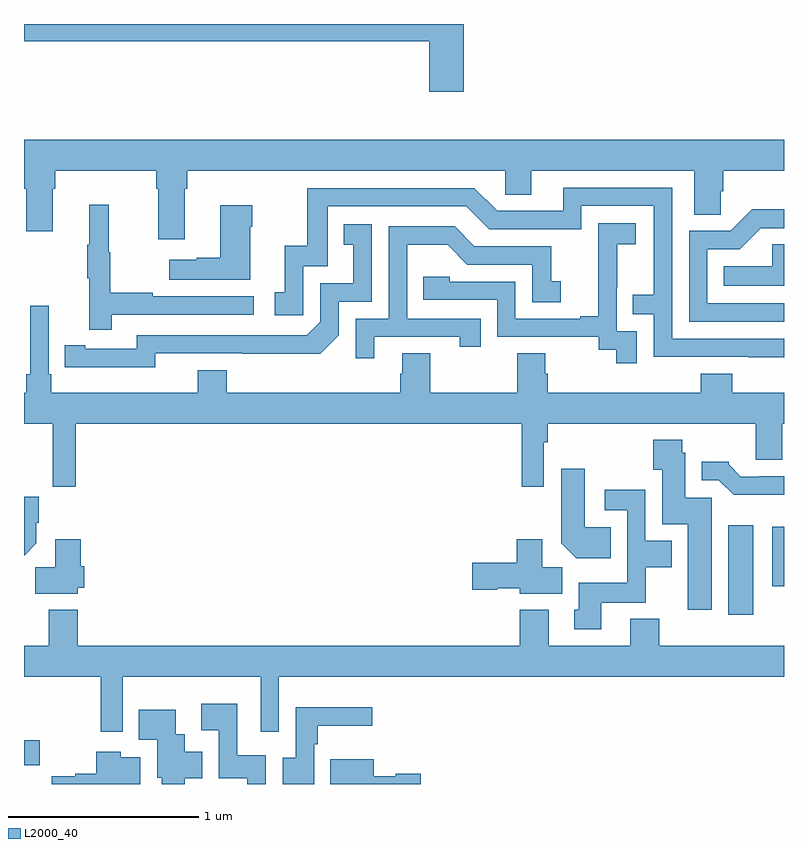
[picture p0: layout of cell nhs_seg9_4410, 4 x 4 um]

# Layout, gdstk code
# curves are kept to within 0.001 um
import gdstk
lib = gdstk.Library(unit=1e-6, precision=1e-09)
def R(c, l, rs):  # rectangles x0, y0, x1, y1
    for r in rs: c.add(gdstk.rectangle(r[:2], r[2:], *l))
def P(c, l, *ps):  # polygons
    for p in ps: c.add(gdstk.Polygon(p, *l))
L2000_40 = (2000, 40)

nhs_seg9_4410 = lib.new_cell('nhs_seg9_4410')
R(nhs_seg9_4410, L2000_40, [(363,1218.599,363.083,1218.729), (366.707,1219.392,366.838,1219.861), (366.938,1219.541,367,1219.855)])
P(nhs_seg9_4410, L2000_40, [(365.315,1222.5),(363,1222.5),(363,1222.408),(365.132,1222.408),(365.132,1222.143),(365.315,1222.143)],
  [(363.847,1221.632),(363.86,1221.632),(363.86,1221.728),(365.532,1221.728),(365.532,1221.601),(365.671,1221.601),(365.671,1221.728),(366.527,1221.728),(366.527,1221.496),(366.666,1221.496),(366.666,1221.619),(366.68,1221.619),(366.68,1221.728),(367,1221.728),(367,1221.892),(363,1221.892),(363,1221.632),(363.011,1221.632),(363.011,1221.408),(363.151,1221.408),(363.151,1221.632),(363.164,1221.632),(363.164,1221.728),(363.695,1221.728),(363.695,1221.632),(363.707,1221.632),(363.707,1221.366),(363.847,1221.366)],
  [(367,1220.844),(366.411,1220.844),(366.411,1221.639),(365.837,1221.639),(365.837,1221.516),(365.49,1221.516),(365.37,1221.636),(364.491,1221.636),(364.491,1221.334),(364.373,1221.334),(364.373,1221.087),(364.32,1221.087),(364.32,1220.967),(364.47,1220.967),(364.47,1221.225),(364.599,1221.225),(364.599,1221.54),(365.328,1221.54),(365.448,1221.42),(365.934,1221.42),(365.934,1221.543),(366.315,1221.543),(366.315,1221.074),(366.205,1221.074),(366.205,1220.973),(366.315,1220.973),(366.315,1220.748),(367,1220.747)],
  [(363.461,1220.97),(364.21,1220.97),(364.21,1221.066),(363.677,1221.066),(363.677,1221.086),(363.454,1221.086),(363.454,1221.3),(363.446,1221.3),(363.446,1221.55),(363.344,1221.55),(363.344,1221.337),(363.333,1221.337),(363.333,1221.163),(363.344,1221.163),(363.344,1220.892),(363.461,1220.892)],
  [(364.192,1221.434),(364.2,1221.434),(364.2,1221.547),(364.034,1221.547),(364.034,1221.269),(363.908,1221.269),(363.908,1221.259),(363.765,1221.259),(363.765,1221.155),(364.192,1221.155)],
  [(367,1221.03),(366.597,1221.03),(366.597,1221.315),(366.766,1221.315),(366.877,1221.426),(367,1221.426),(367,1221.524),(366.833,1221.524),(366.72,1221.411),(366.501,1221.411),(366.501,1220.934),(367,1220.934)],
  [(366.225,1220.883),(366.12,1220.883),(366.12,1221.113),(366.122,1221.113),(366.122,1221.341),(366.22,1221.341),(366.22,1221.451),(366.022,1221.451),(366.022,1221.245),(366.023,1221.245),(366.023,1220.962),(365.927,1220.962),(365.927,1220.949),(365.586,1220.949),(365.586,1221.144),(365.241,1221.144),(365.241,1221.171),(365.101,1221.171),(365.101,1221.048),(365.49,1221.048),(365.49,1220.853),(366.024,1220.853),(366.024,1220.785),(366.117,1220.785),(366.117,1220.715),(366.225,1220.715)],
  [(363.69,1220.766),(364.558,1220.765),(364.656,1220.862),(364.656,1221.039),(364.83,1221.039),(364.83,1221.445),(364.684,1221.445),(364.684,1221.339),(364.733,1221.339),(364.733,1221.135),(364.56,1221.135),(364.56,1220.934),(364.488,1220.862),(363.594,1220.862),(363.594,1220.79),(363.322,1220.79),(363.322,1220.81),(363.214,1220.81),(363.214,1220.694),(363.69,1220.693)],
  [(364.843,1220.853),(365.294,1220.853),(365.294,1220.802),(365.405,1220.802),(365.405,1220.949),(365.016,1220.949),(365.016,1221.338),(365.23,1221.338),(365.334,1221.234),(365.676,1221.234),(365.676,1221.036),(365.824,1221.036),(365.824,1221.145),(365.775,1221.145),(365.775,1221.33),(365.371,1221.33),(365.266,1221.435),(364.92,1221.435),(364.92,1220.949),(364.746,1220.949),(364.746,1220.742),(364.843,1220.742)],
  [(367,1221.341),(366.939,1221.341),(366.939,1221.226),(366.682,1221.226),(366.682,1221.122),(367,1221.122)],
  [(363.272,1220.396),(365.62,1220.396),(365.62,1220.064),(365.736,1220.064),(365.736,1220.3),(365.756,1220.3),(365.756,1220.396),(366.851,1220.396),(366.851,1220.206),(366.991,1220.206),(366.991,1220.396),(367,1220.396),(367,1220.56),(366.728,1220.56),(366.728,1220.659),(366.563,1220.659),(366.563,1220.56),(365.756,1220.56),(365.756,1220.658),(365.743,1220.658),(365.743,1220.768),(365.596,1220.768),(365.596,1220.56),(365.139,1220.56),(365.139,1220.768),(364.991,1220.768),(364.991,1220.658),(364.979,1220.658),(364.979,1220.56),(364.067,1220.56),(364.067,1220.677),(363.914,1220.677),(363.914,1220.56),(363.143,1220.56),(363.143,1220.656),(363.129,1220.656),(363.129,1221.016),(363.032,1221.016),(363.032,1220.656),(363.013,1220.656),(363.013,1220.56),(363,1220.56),(363,1220.396),(363.151,1220.396),(363.151,1220.064),(363.272,1220.064)],
  [(366.619,1220.007),(366.481,1220.007),(366.481,1220.244),(366.465,1220.244),(366.465,1220.311),(366.313,1220.311),(366.313,1220.155),(366.359,1220.155),(366.359,1219.868),(366.494,1219.868),(366.494,1219.416),(366.619,1219.416)],
  [(367,1220.121),(366.871,1220.121),(366.871,1220.118),(366.772,1220.118),(366.708,1220.182),(366.708,1220.197),(366.566,1220.197),(366.566,1220.1),(366.657,1220.1),(366.736,1220.022),(367,1220.022)],
  [(366.089,1219.852),(365.95,1219.852),(365.95,1220.158),(365.828,1220.158),(365.828,1219.766),(365.906,1219.688),(366.089,1219.688)],
  [(366.037,1219.454),(366.273,1219.454),(366.273,1219.64),(366.409,1219.64),(366.409,1219.78),(366.27,1219.78),(366.27,1220.05),(366.057,1220.05),(366.057,1219.941),(366.174,1219.941),(366.174,1219.558),(365.921,1219.558),(365.921,1219.416),(365.897,1219.416),(365.897,1219.314),(366.037,1219.314)],
  [(363.064,1219.766),(363.064,1219.876),(363.077,1219.876),(363.077,1220.011),(363,1220.011),(363,1219.702)],
  [(365.833,1219.64),(365.728,1219.64),(365.728,1219.789),(365.594,1219.789),(365.594,1219.664),(365.358,1219.664),(365.358,1219.522),(365.49,1219.522),(365.49,1219.529),(365.61,1219.529),(365.61,1219.502),(365.833,1219.502)],
  [(363.282,1219.533),(363.317,1219.533),(363.317,1219.647),(363.299,1219.647),(363.299,1219.789),(363.164,1219.789),(363.164,1219.64),(363.059,1219.64),(363.059,1219.502),(363.282,1219.502)],
  [(363.519,1219.064),(364.245,1219.064),(364.245,1218.774),(364.341,1218.774),(364.341,1219.064),(367,1219.064),(367,1219.228),(366.344,1219.228),(366.344,1219.369),(366.191,1219.369),(366.191,1219.228),(365.761,1219.228),(365.761,1219.417),(365.609,1219.417),(365.609,1219.228),(363.284,1219.228),(363.284,1219.417),(363.131,1219.417),(363.131,1219.228),(363,1219.228),(363,1219.064),(363.403,1219.064),(363.403,1218.774),(363.519,1218.774)],
  [(364.272,1218.652),(364.122,1218.652),(364.122,1218.922),(363.933,1218.922),(363.933,1218.782),(364.026,1218.782),(364.026,1218.53),(364.174,1218.53),(364.174,1218.5),(364.272,1218.5)],
  [(364.527,1218.71),(364.547,1218.71),(364.547,1218.806),(364.834,1218.806),(364.834,1218.904),(364.431,1218.904),(364.431,1218.639),(364.361,1218.639),(364.361,1218.5),(364.527,1218.5)],
  [(363.847,1218.53),(363.937,1218.53),(363.937,1218.67),(363.847,1218.67),(363.847,1218.763),(363.798,1218.763),(363.798,1218.892),(363.604,1218.892),(363.604,1218.734),(363.701,1218.734),(363.701,1218.534),(363.725,1218.534),(363.725,1218.5),(363.847,1218.5)],
  [(363.613,1218.64),(363.508,1218.64),(363.508,1218.67),(363.379,1218.67),(363.379,1218.554),(363.27,1218.554),(363.27,1218.541),(363.145,1218.541),(363.145,1218.5),(363.613,1218.5)],
  [(365.089,1218.554),(364.956,1218.554),(364.956,1218.541),(364.84,1218.541),(364.84,1218.631),(364.612,1218.631),(364.612,1218.5),(365.089,1218.5)])

lib.write_gds('nhs_seg9_4410.gds')
